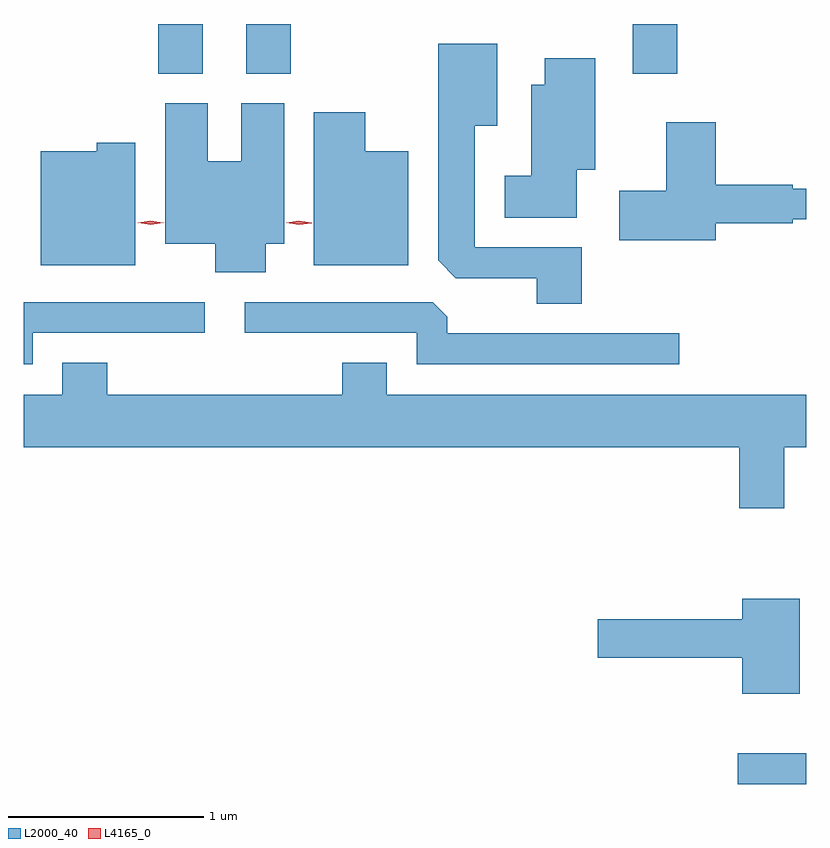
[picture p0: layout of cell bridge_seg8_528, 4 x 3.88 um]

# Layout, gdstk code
import gdstk
lib = gdstk.Library(unit=1e-6, precision=1e-09)
def R(c, l, rs):  # rectangles x0, y0, x1, y1
    for r in rs: c.add(gdstk.rectangle(r[:2], r[2:], *l))
def P(c, l, *ps):  # polygons
    for p in ps: c.add(gdstk.Polygon(p, *l))
L2000_40 = (2000, 40)
L4165_0 = (4165, 0)

bridge_seg8_528 = lib.new_cell('bridge_seg8_528')
R(bridge_seg8_528, L2000_40, [(266.303,1865.776,266.653,1865.934), (263.341,1869.406,263.569,1869.66), (263.791,1869.406,264.019,1869.66), (265.766,1869.406,265.994,1869.66)])
P(bridge_seg8_528, L2000_40, [(265.504,1868.519),(264.959,1868.519),(264.959,1869.141),(265.074,1869.141),(265.074,1869.559),(264.771,1869.559),(264.771,1868.452),(264.862,1868.361),(265.276,1868.361),(265.276,1868.231),(265.504,1868.231)],
  [(265.479,1868.916),(265.574,1868.916),(265.574,1869.484),(265.316,1869.484),(265.316,1869.349),(265.246,1869.349),(265.246,1868.884),(265.111,1868.884),(265.111,1868.671),(265.479,1868.671)],
  [(263.889,1868.536),(263.984,1868.536),(263.984,1869.254),(263.766,1869.254),(263.766,1868.959),(263.594,1868.959),(263.594,1869.254),(263.376,1869.254),(263.376,1868.536),(263.631,1868.536),(263.631,1868.391),(263.889,1868.391)],
  [(264.619,1869.009),(264.399,1869.009),(264.399,1869.209),(264.136,1869.209),(264.136,1868.426),(264.619,1868.426)],
  [(266.189,1868.641),(266.584,1868.641),(266.584,1868.661),(266.653,1868.661),(266.653,1868.819),(266.584,1868.819),(266.584,1868.839),(266.189,1868.839),(266.189,1869.159),(265.936,1869.159),(265.936,1868.809),(265.696,1868.809),(265.696,1868.556),(266.189,1868.556)],
  [(263.224,1869.054),(263.026,1869.054),(263.026,1869.009),(262.741,1869.009),(262.741,1868.426),(263.224,1868.426)],
  [(266.003,1868.079),(264.819,1868.079),(264.819,1868.164),(264.744,1868.239),(263.783,1868.239),(263.783,1868.081),(264.661,1868.081),(264.661,1867.921),(266.003,1867.921)],
  [(262.699,1868.081),(263.578,1868.081),(263.578,1868.239),(262.653,1868.239),(262.653,1867.921),(262.699,1867.921)],
  [(266.539,1867.496),(266.653,1867.496),(266.653,1867.764),(264.509,1867.764),(264.509,1867.929),(264.281,1867.929),(264.281,1867.764),(263.079,1867.764),(263.079,1867.929),(262.851,1867.929),(262.851,1867.764),(262.653,1867.764),(262.653,1867.496),(266.311,1867.496),(266.311,1867.186),(266.539,1867.186)],
  [(266.619,1866.724),(266.326,1866.724),(266.326,1866.619),(265.586,1866.619),(265.586,1866.421),(266.326,1866.421),(266.326,1866.236),(266.619,1866.236)])
P(bridge_seg8_528, L4165_0, [(263.302,1868.634),(263.235,1868.644),(263.234,1868.644),(263.235,1868.644),(263.301,1868.654),(263.368,1868.645),(263.368,1868.644),(263.368,1868.644)],
  [(264.06,1868.634),(263.994,1868.644),(263.994,1868.644),(263.994,1868.645),(264.06,1868.654),(264.125,1868.644),(264.125,1868.644),(264.125,1868.643)])

lib.write_gds('bridge_seg8_528.gds')
